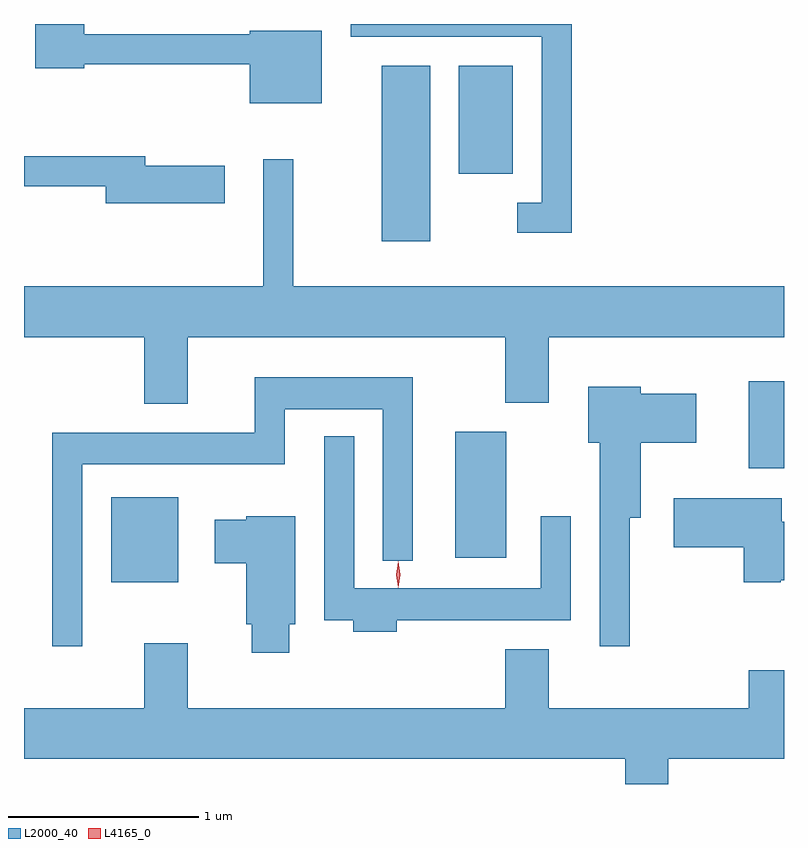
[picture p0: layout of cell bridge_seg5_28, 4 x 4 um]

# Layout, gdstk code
import gdstk
lib = gdstk.Library(unit=1e-6, precision=1e-09)
def R(c, l, rs):  # rectangles x0, y0, x1, y1
    for r in rs: c.add(gdstk.rectangle(r[:2], r[2:], *l))
def P(c, l, *ps):  # polygons
    for p in ps: c.add(gdstk.Polygon(p, *l))
L2000_40 = (2000, 40)
L4165_0 = (4165, 0)

bridge_seg5_28 = lib.new_cell('bridge_seg5_28')
R(bridge_seg5_28, L2000_40, [(1255.366,1477.706,1255.719,1478.154), (1257.176,1477.836,1257.444,1478.499), (1258.721,1478.306,1258.907,1478.764), (1256.791,1479.501,1257.044,1480.424), (1257.196,1479.856,1257.479,1480.424)])
P(bridge_seg5_28, L2000_40, [(1256.474,1480.609),(1256.096,1480.609),(1256.096,1480.589),(1255.224,1480.589),(1255.224,1480.644),(1254.966,1480.644),(1254.966,1480.411),(1255.224,1480.411),(1255.224,1480.431),(1256.096,1480.431),(1256.096,1480.226),(1256.474,1480.226)],
  [(1257.789,1480.644),(1256.626,1480.644),(1256.626,1480.576),(1257.631,1480.576),(1257.631,1479.704),(1257.503,1479.704),(1257.503,1479.546),(1257.789,1479.546)],
  [(1255.964,1479.899),(1255.544,1479.899),(1255.544,1479.949),(1254.907,1479.949),(1254.907,1479.791),(1255.336,1479.791),(1255.336,1479.701),(1255.964,1479.701)],
  [(1256.324,1479.933),(1256.166,1479.933),(1256.166,1479.264),(1254.907,1479.264),(1254.907,1478.996),(1255.541,1478.996),(1255.541,1478.646),(1255.769,1478.646),(1255.769,1478.996),(1257.441,1478.996),(1257.441,1478.651),(1257.669,1478.651),(1257.669,1478.996),(1258.907,1478.996),(1258.907,1479.264),(1256.324,1479.264)],
  [(1255.214,1478.326),(1256.279,1478.326),(1256.279,1478.616),(1256.796,1478.616),(1256.796,1477.818),(1256.954,1477.818),(1256.954,1478.784),(1256.121,1478.784),(1256.121,1478.494),(1255.056,1478.494),(1255.056,1477.368),(1255.214,1477.368)],
  [(1258.094,1478.046),(1258.154,1478.046),(1258.154,1478.441),(1258.444,1478.441),(1258.444,1478.699),(1258.154,1478.699),(1258.154,1478.734),(1257.876,1478.734),(1257.876,1478.441),(1257.936,1478.441),(1257.936,1477.368),(1258.094,1477.368)],
  [(1256.869,1477.506),(1257.784,1477.506),(1257.784,1478.053),(1257.626,1478.053),(1257.626,1477.674),(1256.644,1477.674),(1256.644,1478.473),(1256.486,1478.473),(1256.486,1477.506),(1256.641,1477.506),(1256.641,1477.446),(1256.869,1477.446)],
  [(1258.89,1477.716),(1258.907,1477.716),(1258.907,1478.024),(1258.894,1478.024),(1258.894,1478.149),(1258.326,1478.149),(1258.326,1477.891),(1258.696,1477.891),(1258.696,1477.706),(1258.89,1477.706)],
  [(1256.304,1477.486),(1256.334,1477.486),(1256.334,1478.054),(1256.076,1478.054),(1256.076,1478.034),(1255.911,1478.034),(1255.911,1477.806),(1256.076,1477.806),(1256.076,1477.486),(1256.106,1477.486),(1256.106,1477.336),(1256.304,1477.336)],
  [(1258.299,1476.776),(1258.907,1476.776),(1258.907,1477.244),(1258.721,1477.244),(1258.721,1477.044),(1257.669,1477.044),(1257.669,1477.354),(1257.441,1477.354),(1257.441,1477.044),(1255.769,1477.044),(1255.769,1477.384),(1255.541,1477.384),(1255.541,1477.044),(1254.907,1477.044),(1254.907,1476.776),(1258.071,1476.776),(1258.071,1476.644),(1258.299,1476.644)])
P(bridge_seg5_28, L4165_0, [(1256.877,1477.677),(1256.868,1477.747),(1256.877,1477.816),(1256.878,1477.816),(1256.878,1477.816),(1256.888,1477.746),(1256.878,1477.677),(1256.878,1477.677)],
  [(1256.876,1477.679),(1256.876,1477.68),(1256.866,1477.746),(1256.876,1477.812),(1256.876,1477.813),(1256.877,1477.812),(1256.886,1477.746),(1256.877,1477.68)])

lib.write_gds('bridge_seg5_28.gds')
